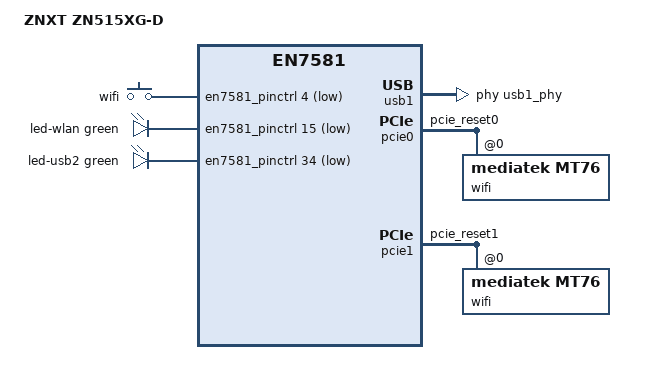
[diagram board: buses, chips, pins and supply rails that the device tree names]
// SPDX-License-Identifier: (GPL-2.0-only OR BSD-2-Clause)
/dts-v1/;

/* Firmware reserves the first 2 MiB of DRAM. */
/memreserve/ 0x80000000 0x200000;

#include "an7581-znxt-zn50xg-d-common.dtsi"

/ {
	model = "ZNXT ZN515XG-D";
	compatible = "znxt,zn515xg-d", "airoha,an7581", "airoha,en7581";

	keys {
		key-wifi {
			label = "wifi";
			linux,code = <KEY_RFKILL>;
			/* The wireless button is connected to active-low GPIO4. */
			gpios = <&en7581_pinctrl 4 GPIO_ACTIVE_LOW>;
			debounce-interval = <60>;
		};
	};

	leds {
		led-wlan {
			color = <LED_COLOR_ID_GREEN>;
			function = LED_FUNCTION_WLAN;
			/* The active-low wireless LED is connected to GPIO15. */
			gpios = <&en7581_pinctrl 15 GPIO_ACTIVE_LOW>;
		};

		led-usb2 {
			color = <LED_COLOR_ID_GREEN>;
			function = LED_FUNCTION_USB;
			function-enumerator = <2>;
			/* The active-low USB2 LED is connected to GPIO34. */
			gpios = <&en7581_pinctrl 34 GPIO_ACTIVE_LOW>;
			linux,default-trigger = "usbport";
			trigger-sources = <&usb_port2>;
		};
	};
};

&znxt_proline_layout {
	/* Radio fields place the X-PON serial at factory offset 0x141063. */
	pon_serial: pon-serial@141063 {
		reg = <0x00141063 0x0000000c>;
	};
};

&xpon_mac {
	nvmem-cells = <&pon_serial>;
};

/* The second external USB port carries USB2 signals. */
&usb1 {
	status = "okay";
	mediatek,u3p-dis-msk = <0x1>;
	phys = <&usb1_phy PHY_TYPE_USB2>;
	vusb33-supply = <&reg_3p3v>;
	#address-cells = <1>;
	#size-cells = <0>;

	usb_port2: port@1 {
		reg = <1>;
		#trigger-source-cells = <0>;
	};
};

&en7581_pinctrl {
	pcie0_rst_pins: pcie0-rst-pins {
		conf {
			pins = "pcie_reset0";
			drive-open-drain = <1>;
		};
	};

	pcie1_rst_pins: pcie1-rst-pins {
		conf {
			pins = "pcie_reset1";
			drive-open-drain = <1>;
		};
	};
};

/*
 * MT7916D HIF2 is 14c3:790a on PCIe0. The primary HIF on PCIe1 obtains
 * its secondary registers and interrupt through this function.
 */
/* The wireless PCIe links negotiate Gen2 when the root ports advertise it. */
&pcie0 {
	status = "okay";
	max-link-speed = <2>;
	pinctrl-names = "default";
	pinctrl-0 = <&pcie0_rst_pins>;

	pcie@0,0 {
		reg = <0x0000 0 0 0 0>;

		wifi@0,0 {
			compatible = "mediatek,mt76";
			reg = <0x0000 0 0 0 0>;
		};
	};
};

/*
 * 14c3:7906 is the primary interface. mediatek,eeprom-merge-otp merges
 * per-device iCal fields from the chip into the EEPROM template.
 */
&pcie1 {
	status = "okay";
	max-link-speed = <2>;
	pinctrl-names = "default";
	pinctrl-0 = <&pcie1_rst_pins>;

	pcie@0,0 {
		reg = <0x0000 0 0 0 0>;

		wifi@0,0 {
			compatible = "mediatek,mt76";
			reg = <0x0000 0 0 0 0>;
			mediatek,eeprom-merge-otp;
			airoha,npu = <&npu>;
			airoha,eth = <&eth>;

			band@0 {
				reg = <0>;
				nvmem-cells = <&macaddr_factory 4>;
				nvmem-cell-names = "mac-address";
			};

			band@1 {
				reg = <1>;
				nvmem-cells = <&macaddr_factory 5>;
				nvmem-cell-names = "mac-address";
			};
		};
	};
};
